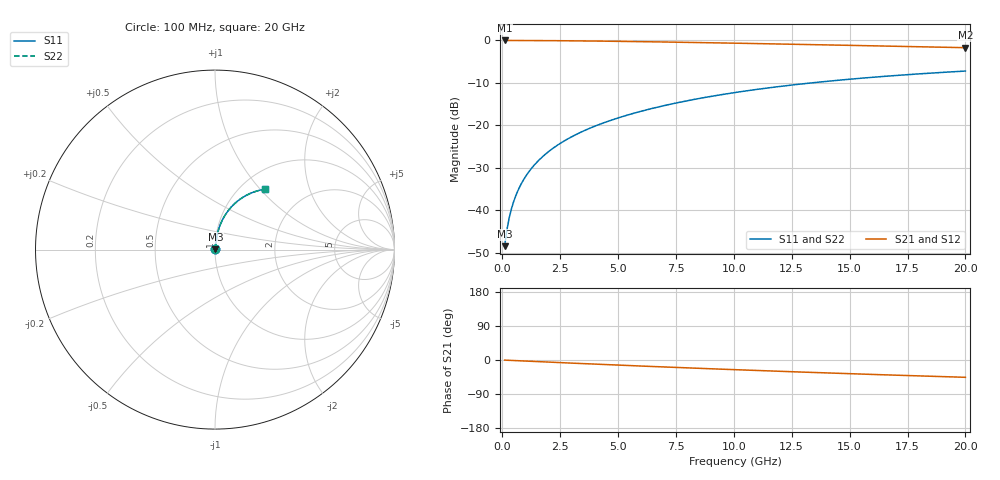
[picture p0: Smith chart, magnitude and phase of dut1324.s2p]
! Touchstone file exported from HFSS 2024.1.0
!  File:  C:/UserFiles/LocalFiles/RDL_TSV_Batchsim/temp_RDL_top_1324_1780365163.aedt
!  Generated:  09:54:52 AM Jun  2, 2026
!  Design:  RDL_top
!  Project:  temp_RDL_top_1324_1780365163
!  Setup:  Setup1
!  Solution:  Sweep
! Variables:
!  dtsv = 10.80580581um
!  hbump = 3um
!  htsv = 94.79um
!  ldown = 100um
!  lrdl = 631.46um
!  p = 40
!  p1 = 53.06um
!  rhole = 1um
!  t = 450um
!  tdown = 3.915915916um
!  trdl = 4.82um
!  wdown = 15.38538539um
!  wrdl = 17.77um
# GHz S MA R 50.000000
! Terminal data exported
! Port[1] = Box2_T1
! Port[2] = Box2_T2
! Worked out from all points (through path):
!   200 points, 100 MHz to 20 GHz, reference 50 ohm
!   highest |S21| = -0.02 dB at 100 MHz (marker M1); lowest = -1.7 dB at 20 GHz (marker M2)
!   group delay of S21, straight-line fit = 6.32 ps
!   lowest |S11| = -48.5 dB at 100 MHz (marker M3), VSWR 1.01, Z = 50.3 + j0.261 ohm
!   |S11| at or under -10 dB: start of sweep to 13.39 GHz
!   |S22| runs from -48.5 to -7.2 dB; largest |S21 - S12| = 6.6e-15
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0.1  0.003764 43.5  0.9973 -0.3  0.9973 -0.3  0.003764 43.5
! Gamma 0 0 0 0
! Port Impedance 50 0 50 0
0.2  0.005862 60.8  0.9971 -0.6  0.9971 -0.6  0.005862 60.8
0.3  0.00815 68.3  0.997 -0.9  0.997 -0.9  0.00815 68.4
0.4  0.01048 72.6  0.9968 -1.1  0.9968 -1.1  0.01048 72.6
0.5  0.01283 75.2  0.9967 -1.4  0.9967 -1.4  0.01283 75.2
0.6  0.0152 77.1  0.9965 -1.7  0.9965 -1.7  0.0152 77.1
0.8  0.01997 79.4  0.9961 -2.2  0.9961 -2.2  0.01997 79.4
1.1  0.02718 81.2  0.9955 -3.1  0.9955 -3.1  0.02718 81.2
1.5  0.03685 82.3  0.9944 -4.2  0.9944 -4.2  0.03685 82.3
1.8  0.04412 82.5  0.9934 -5.0  0.9934 -5.0  0.04412 82.5
2.1  0.0514 82.6  0.9922 -5.8  0.9922 -5.8  0.0514 82.6
2.7  0.06597 82.3  0.9893 -7.4  0.9893 -7.4  0.06597 82.3
3.5  0.08542 81.5  0.9847 -9.6  0.9847 -9.6  0.08542 81.5
4.2  0.1025 80.6  0.9799 -11.4  0.9799 -11.4  0.1025 80.6
5  0.1219 79.4  0.9739 -13.4  0.9739 -13.4  0.122 79.4
5.9  0.1439 77.9  0.9664 -15.7  0.9664 -15.7  0.1439 77.9
6.8  0.1658 76.3  0.9584 -17.9  0.9584 -17.9  0.1658 76.3
8.4  0.2042 73.3  0.9431 -21.8  0.9431 -21.8  0.2043 73.3
10.1  0.2441 69.9  0.9259 -25.7  0.9259 -25.7  0.2441 69.9
13.4  0.3164 63.3  0.8907 -32.8  0.8907 -32.8  0.3165 63.2
16.7  0.3803 56.7  0.8549 -39.5  0.8549 -39.5  0.3804 56.7
20  0.4349 50.6  0.8198 -45.7  0.8198 -45.7  0.435 50.6
